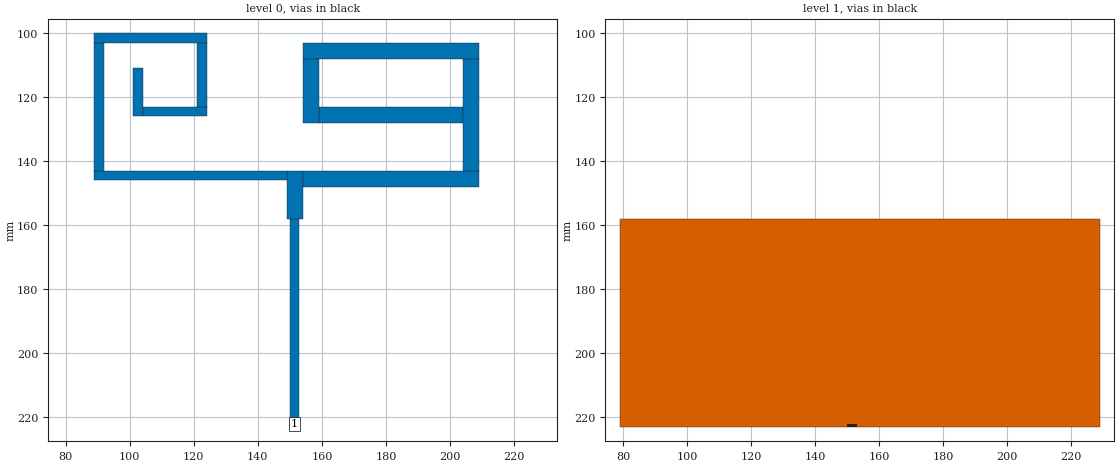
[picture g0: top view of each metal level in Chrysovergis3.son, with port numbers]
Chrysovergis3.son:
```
FTYP SONPROJ 3 ! Sonnet Project File
VER 11.54
HEADER
LIC Sonn.1.12345
DAT 05/21/2016 21:26:00
BUILT_BY_CREATED xgeom 11.54 05/15/2016 15:53:35
BUILT_BY_SAVED xgeom 11.54
MDATE 05/21/2016 21:26:00
HDATE 05/21/2016 21:26:00
END HEADER
DIM
FREQ GHZ
IND NH
LNG MM
ANG DEG
CON /OH
CAP PF
RES OH
END DIM
FREQ
ABS 0.1 1.0 
END FREQ
CONTROL
ABS
OPTIONS  -d 
SPEED 0
CACHE_ABS 1
TARG_ABS 300
Q_ACC N
END CONTROL
GEO
TMET "Free Space" 0 FREESPACE 376.7303136 0 0 0
BMET "Free Space" 0 FREESPACE 376.7303136 0 0 0
BOX 2 300 300 600 600 20 0
      20 1 1 0 0 0 0 "Air"
      1.6 4.2 1 0.02 0 0 0 "FR4"
      20 1 1 0 0 0 0 "Air"
POR1 STD
POLY 8 1
0
1 50 0 0 0 151.5000009 222.0000007 
NUM 15
VIA POLYGON
0 5 -1 N 8 1 1 100 100 0 0 0 Y
TOLEVEL 1
150.0000009 222.0000007
153.0000009 222.0000007
153.0000009 223.0000007
150.0000009 223.0000007
150.0000009 222.0000007
END
0 5 -1 N 10 1 1 100 100 0 0 0 Y
150.0000074 158.0000077
153.0000074 158.0000077
153.0000074 223.0000077
150.0000074 223.0000077
150.0000074 158.0000077
END
0 5 -1 N 11 1 1 100 100 0 0 0 Y
149.0000153 143.000006
154.0000153 143.000006
154.0000153 158.000006
149.0000153 158.000006
149.0000153 143.000006
END
0 5 -1 N 12 1 1 100 100 0 0 0 Y
154.0000191 143.000006
209.0000191 143.000006
209.0000191 148.000006
154.0000191 148.000006
154.0000191 143.000006
END
0 5 -1 N 13 1 1 100 100 0 0 0 Y
154.0000191 103.000006
209.0000191 103.000006
209.0000191 108.000006
154.0000191 108.000006
154.0000191 103.000006
END
0 5 -1 N 14 1 1 100 100 0 0 0 Y
158.9999871 122.9999988
203.9999871 122.9999988
203.9999871 127.9999988
158.9999871 127.9999988
158.9999871 122.9999988
END
0 5 -1 N 15 1 1 100 100 0 0 0 Y
203.9999861 108.0000016
208.9999861 108.0000016
208.9999861 143.0000016
203.9999861 143.0000016
203.9999861 108.0000016
END
0 5 -1 N 18 1 1 100 100 0 0 0 Y
153.9999825 108.0000042
158.9999825 108.0000042
158.9999825 128.0000042
153.9999825 128.0000042
153.9999825 108.0000042
END
0 5 -1 N 50 1 1 100 100 0 0 0 Y
89.00000639 99.99999903
124.0000064 99.99999903
124.0000064 102.999999
89.00000639 102.999999
89.00000639 99.99999903
END
0 5 -1 N 57 1 1 100 100 0 0 0 Y
100.9999975 110.9999968
103.9999975 110.9999968
103.9999975 125.9999968
100.9999975 125.9999968
100.9999975 110.9999968
END
0 5 -1 N 62 1 1 100 100 0 0 0 Y
103.9999928 123.0000032
123.9999928 123.0000032
123.9999928 126.0000032
103.9999928 126.0000032
103.9999928 123.0000032
END
0 5 -1 N 68 1 1 100 100 0 0 0 Y
89.00000085 142.9999919
149.0000009 142.9999919
149.0000009 145.9999919
89.00000085 145.9999919
89.00000085 142.9999919
END
0 5 -1 N 71 1 1 100 100 0 0 0 Y
88.99999419 102.9999984
91.99999419 102.9999984
91.99999419 142.9999984
88.99999419 142.9999984
88.99999419 102.9999984
END
0 5 -1 N 77 1 1 100 100 0 0 0 Y
120.999992 102.9999984
123.999992 102.9999984
123.999992 122.9999984
120.999992 122.9999984
120.999992 102.9999984
END
1 5 -1 N 22 1 1 100 100 0 0 0 Y
78.99999713 157.9999938
228.9999971 157.9999938
228.9999971 222.9999938
78.99999713 222.9999938
78.99999713 157.9999938
END
END GEO
OPT
MAX 100
VARS
END OPT
VARSWP
END VARSWP
QSG
IMPORT NO
EXTRA_METAL NO
UNITS YES
ALIGN NO
REF NO
VIEW_RES YES
METALS NO
USED YES
END QSG
```
